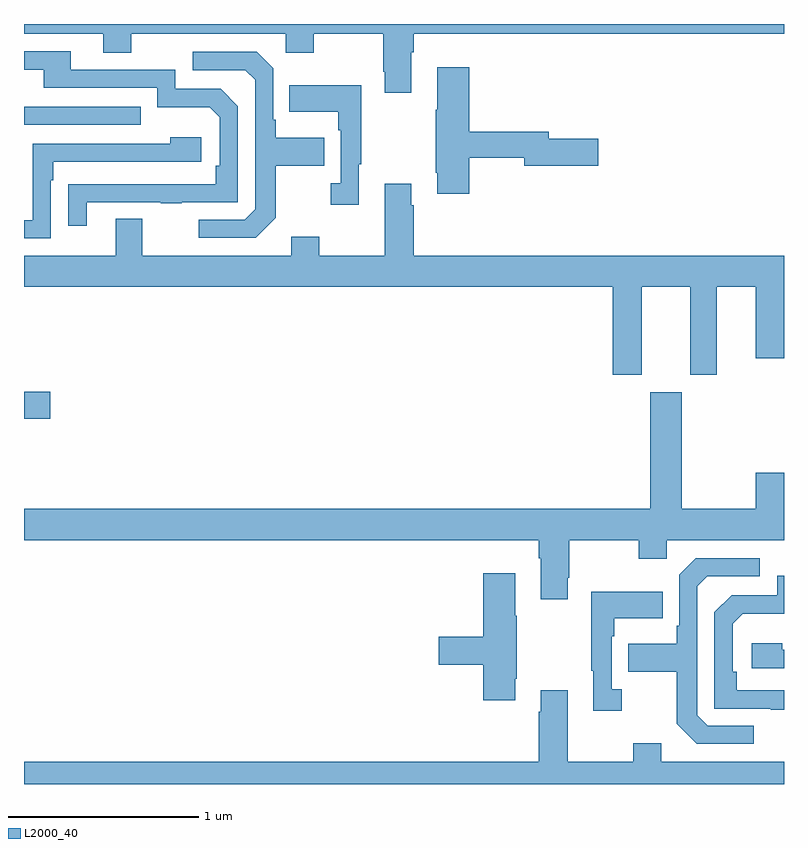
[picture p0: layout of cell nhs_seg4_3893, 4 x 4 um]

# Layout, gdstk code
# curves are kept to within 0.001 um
import gdstk
lib = gdstk.Library(unit=1e-6, precision=1e-09)
def R(c, l, rs):  # rectangles x0, y0, x1, y1
    for r in rs: c.add(gdstk.rectangle(r[:2], r[2:], *l))
def P(c, l, *ps):  # polygons
    for p in ps: c.add(gdstk.Polygon(p, *l))
L2000_40 = (2000, 40)

nhs_seg4_3893 = lib.new_cell('nhs_seg4_3893')
R(nhs_seg4_3893, L2000_40, [(317,766.822,317.137,766.964), (317,768.369,317.615,768.465)])
P(nhs_seg4_3893, L2000_40, [(319.039,768.752),(319.052,768.752),(319.052,768.848),(321,768.848),(321,768.9),(317,768.9),(317,768.848),(317.417,768.848),(317.417,768.749),(317.565,768.749),(317.565,768.848),(318.378,768.848),(318.378,768.749),(318.525,768.749),(318.525,768.848),(318.892,768.848),(318.892,768.649),(318.899,768.649),(318.899,768.537),(319.039,768.537)],
  [(317.329,767.961),(317.719,767.961),(317.719,767.956),(317.831,767.956),(317.831,767.961),(318.126,767.961),(318.126,768.468),(318.036,768.558),(317.796,768.558),(317.796,768.66),(317.245,768.66),(317.245,768.756),(317,768.756),(317,768.66),(317.105,768.66),(317.105,768.564),(317.7,768.564),(317.7,768.461),(317.977,768.461),(318.03,768.408),(318.03,768.154),(318.01,768.154),(318.01,768.057),(317.233,768.056),(317.233,767.838),(317.329,767.838)],
  [(318.325,767.881),(318.325,768.154),(318.581,768.154),(318.581,768.301),(318.325,768.301),(318.325,768.397),(318.312,768.397),(318.312,768.666),(318.225,768.753),(317.889,768.753),(317.889,768.657),(318.165,768.657),(318.216,768.606),(318.216,767.925),(318.162,767.871),(317.919,767.871),(317.919,767.775),(318.219,767.775)],
  [(319.343,768.196),(319.634,768.196),(319.634,768.154),(320.023,768.154),(320.023,768.296),(319.762,768.296),(319.762,768.332),(319.343,768.332),(319.343,768.673),(319.175,768.673),(319.175,768.449),(319.168,768.449),(319.168,768.118),(319.175,768.118),(319.175,768.006),(319.343,768.006)],
  [(318.763,768.161),(318.775,768.161),(318.775,768.577),(318.397,768.577),(318.397,768.437),(318.654,768.437),(318.654,768.341),(318.666,768.341),(318.666,768.062),(318.615,768.062),(318.615,767.949),(318.763,767.949)],
  [(317.142,768.077),(317.155,768.077),(317.155,768.174),(317.932,768.174),(317.932,768.304),(317.771,768.304),(317.771,768.27),(317.046,768.27),(317.046,767.868),(317,767.868),(317,767.772),(317.142,767.772)],
  [(320.251,767.516),(320.507,767.516),(320.507,767.055),(320.647,767.055),(320.647,767.516),(320.852,767.516),(320.852,767.142),(321,767.142),(321,767.68),(319.052,767.68),(319.052,767.945),(319.039,767.945),(319.039,768.058),(318.899,768.058),(318.899,767.68),(318.555,767.68),(318.555,767.779),(318.407,767.779),(318.407,767.68),(317.623,767.68),(317.623,767.875),(317.483,767.875),(317.483,767.68),(317,767.68),(317,767.516),(320.099,767.516),(320.099,767.055),(320.251,767.055)],
  [(319.861,765.985),(319.869,765.985),(319.869,766.184),(320.236,766.184),(320.236,766.085),(320.382,766.085),(320.382,766.184),(321,766.184),(321,766.537),(320.852,766.537),(320.852,766.348),(320.461,766.348),(320.461,766.963),(320.297,766.963),(320.297,766.348),(317,766.348),(317,766.184),(319.709,766.184),(319.709,766.088),(319.721,766.088),(319.721,765.873),(319.861,765.873)],
  [(320.842,765.207),(320.598,765.207),(320.544,765.261),(320.544,765.942),(320.595,765.993),(320.872,765.993),(320.872,766.089),(320.535,766.089),(320.448,766.002),(320.448,765.733),(320.436,765.733),(320.436,765.637),(320.179,765.637),(320.179,765.49),(320.436,765.49),(320.436,765.217),(320.541,765.111),(320.842,765.111)],
  [(319.585,765.454),(319.593,765.454),(319.593,765.785),(319.585,765.785),(319.585,766.009),(319.418,766.009),(319.418,765.674),(319.182,765.674),(319.182,765.527),(319.418,765.527),(319.418,765.342),(319.585,765.342)],
  [(321,765.393),(320.75,765.393),(320.75,765.49),(320.73,765.49),(320.73,765.744),(320.783,765.797),(321,765.797),(321,765.996),(320.964,765.996),(320.964,765.894),(320.724,765.894),(320.634,765.804),(320.634,765.297),(320.929,765.297),(320.929,765.292),(321,765.292)],
  [(320.146,765.398),(320.094,765.398),(320.094,765.677),(320.107,765.677),(320.107,765.773),(320.363,765.773),(320.363,765.913),(319.986,765.913),(319.986,765.497),(319.997,765.497),(319.997,765.285),(320.146,765.285)],
  [(321,765.606),(320.99,765.606),(320.99,765.64),(320.829,765.64),(320.829,765.51),(321,765.51)],
  [(321,765.016),(320.353,765.016),(320.353,765.115),(320.206,765.115),(320.206,765.016),(319.861,765.016),(319.861,765.394),(319.721,765.394),(319.721,765.281),(319.709,765.281),(319.709,765.016),(317,765.016),(317,764.9),(321,764.9)])

lib.write_gds('nhs_seg4_3893.gds')
